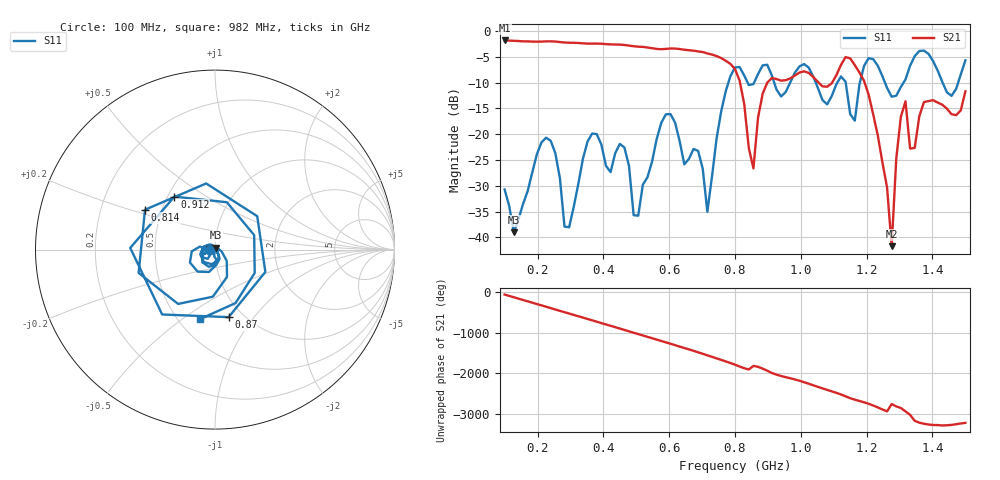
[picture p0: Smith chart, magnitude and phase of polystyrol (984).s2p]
! NanoVNA-App
! Date: 2025-09-25 15:37:32
! Start: 100MHz Stop: 1,5GHz Points: 101
! S-Parameter data: F S11 S21 S12 S22
# Hz S RI R 50
!  Frequency  S11_Real  S11_Imag  S21_Real  S21_Imag  S12_Real  S12_Imag  S22_Real  S22_Imag
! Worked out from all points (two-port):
!   101 points, 100 MHz to 1.5 GHz, reference 50 ohm
!   highest |S21| = -1.80 dB at 100 MHz (marker M1); lowest = -41.7 dB at 1.276 GHz (marker M2)
!   |S21| within 3 dB of the highest: start of sweep to 742.9 MHz
!   lowest |S11| = -39.0 dB at 128 MHz (marker M3), VSWR 1.02, Z = 50.3 + j1.07 ohm
!   |S11| at or under -10 dB: start of sweep to 779.8 MHz; 1.045 GHz to 1.111 GHz (65.32 MHz wide, 6.06 % of centre); 1.256 GHz to 1.312 GHz (56.17 MHz wide, 4.38 % of centre) (the widest 3 of 7)
!   S12 and S22 are empty: the file has one direction only
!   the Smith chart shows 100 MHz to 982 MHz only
!   S11 on the Smith chart (normalised r, x): 100 MHz: 0.94, -0.01; 814 MHz: 0.40, +0.22; 870 MHz: 0.86, -0.76; 912 MHz: 0.54, +0.37; 982 MHz: 0.64, -0.58
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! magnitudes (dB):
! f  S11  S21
! 100 MHz  -30.7  -1.8
! 128 MHz  -39.0  -1.9
! 212 MHz  -21.6  -2.0
! 282 MHz  -37.9  -2.2
! 338 MHz  -24.7  -2.4
! 464 MHz  -22.6  -2.7
! 506 MHz  -35.8  -3.0
! 576 MHz  -17.8  -3.5
! 716 MHz  -35.1  -4.3
! 800 MHz  -7.0  -7.3
! 814 MHz  -7.0  -9.6
! 856 MHz  -10.3  -26.6
! 870 MHz  -8.3  -16.8
! 912 MHz  -8.6  -9.1
! 982 MHz  -8.0  -8.6
! 1.038 GHz  -8.8  -8.9
! 1.164 GHz  -17.4  -6.6
! 1.192 GHz  -6.7  -9.6
! 1.276 GHz  -12.7  -41.7
! 1.318 GHz  -9.4  -13.6
! 1.346 GHz  -4.9  -22.7
! 1.5 GHz  -5.7  -11.7
